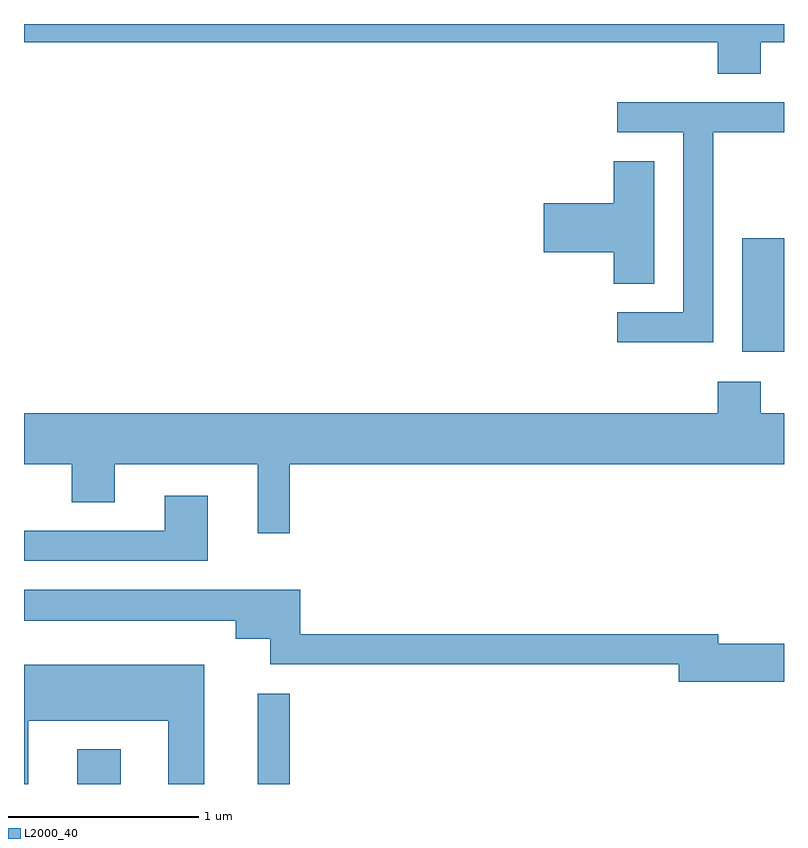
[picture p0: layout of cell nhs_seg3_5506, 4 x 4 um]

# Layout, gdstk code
import gdstk
lib = gdstk.Library(unit=1e-6, precision=1e-09)
def R(c, l, rs):  # rectangles x0, y0, x1, y1
    for r in rs: c.add(gdstk.rectangle(r[:2], r[2:], *l))
def P(c, l, *ps):  # polygons
    for p in ps: c.add(gdstk.Polygon(p, *l))
L2000_40 = (2000, 40)

nhs_seg3_5506 = lib.new_cell('nhs_seg3_5506')
R(nhs_seg3_5506, L2000_40, [(347.891,1119.892,348.119,1120.074), (348.841,1119.892,349.009,1120.368), (351.391,1122.166,351.611,1122.764)])
P(nhs_seg3_5506, L2000_40, [(351.489,1123.796),(351.611,1123.796),(351.611,1123.892),(347.611,1123.892),(347.611,1123.796),(351.261,1123.796),(351.261,1123.631),(351.489,1123.631)],
  [(351.239,1123.321),(351.611,1123.321),(351.611,1123.479),(350.733,1123.479),(350.733,1123.321),(351.081,1123.321),(351.081,1122.374),(350.733,1122.374),(350.733,1122.216),(351.239,1122.216)],
  [(350.929,1123.169),(350.716,1123.169),(350.716,1122.949),(350.346,1122.949),(350.346,1122.691),(350.716,1122.691),(350.716,1122.526),(350.929,1122.526)],
  [(349.009,1121.576),(351.611,1121.576),(351.611,1121.844),(351.489,1121.844),(351.489,1122.009),(351.261,1122.009),(351.261,1121.844),(347.611,1121.844),(347.611,1121.576),(347.861,1121.576),(347.861,1121.376),(348.089,1121.376),(348.089,1121.576),(348.841,1121.576),(348.841,1121.213),(349.009,1121.213)],
  [(348.579,1121.409),(348.351,1121.409),(348.351,1121.224),(347.611,1121.224),(347.611,1121.066),(348.579,1121.066)],
  [(351.611,1120.629),(351.264,1120.629),(351.264,1120.679),(349.064,1120.679),(349.064,1120.914),(347.611,1120.914),(347.611,1120.751),(348.726,1120.751),(348.726,1120.656),(348.906,1120.656),(348.906,1120.521),(351.056,1120.521),(351.056,1120.431),(351.611,1120.431)],
  [(347.634,1120.226),(348.371,1120.226),(348.371,1119.892),(348.559,1119.892),(348.559,1120.519),(347.611,1120.519),(347.611,1119.892),(347.634,1119.892)])

lib.write_gds('nhs_seg3_5506.gds')
